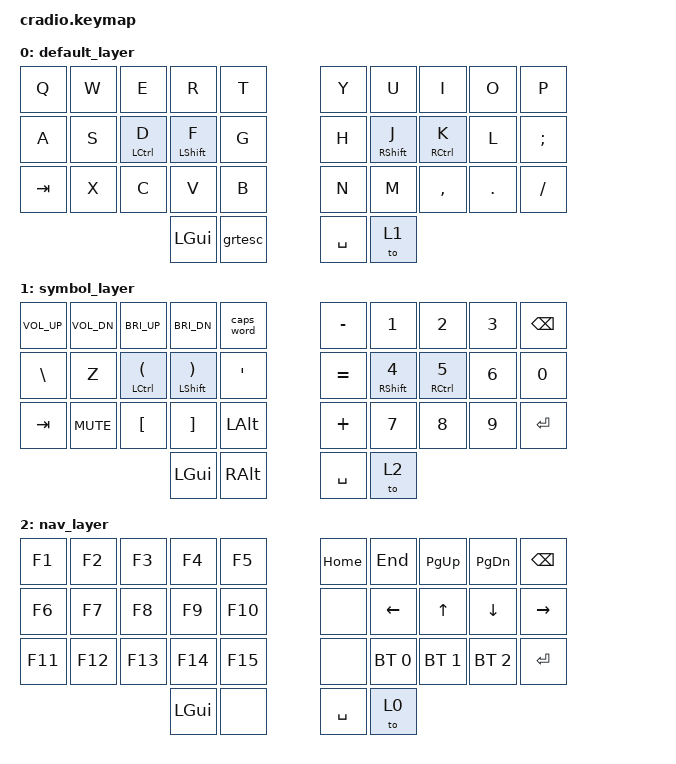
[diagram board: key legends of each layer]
// Copyright (c) 2022 The ZMK Contributors
// SPDX-License-Identifier: MIT

#include <behaviors.dtsi>
#include <dt-bindings/zmk/keys.h>
#include <dt-bindings/zmk/bt.h>

/ {
	behaviors {
		grtesc: grave_escape_with_tilde {
			compatible = "zmk,behavior-mod-morph";
			#binding-cells = <0>;
			bindings = <&kp ESC>, <&kp GRAVE>;
			mods = <MOD_LGUI>;
		};
		hrm: home_row_mods {
			compatible = "zmk,behavior-hold-tap";
			#binding-cells = <2>;
			flavor = "balanced";
			tapping-term-ms = <200>;
			quick-tap-ms = <200>;
			bindings = <&kp>, <&kp>;
		};
	};


	combos {
		compatible = "zmk,combos";

		combo_lh {
			timeout-ms = <200>;
			key-positions = <32 33>;
			bindings = <&to 0>;
		};

		combo_bt_clr {
			timeout-ms = <200>;
			key-positions = <26 27 28>;
			layers = <2>;
			bindings = <&bt BT_CLR>;
		};

		combo_bspc {
			timeout-ms = <200>;
			key-positions = <9 19>;
			layers = <0>;
			bindings = <&kp BSPC>;
		};

		combo_enter {
			timeout-ms = <200>;
			key-positions = <19 29>;
			layers = <0>;
			bindings = <&kp RET>;
		};

		combo_left {
			timeout-ms = <200>;
			key-positions = <0 10>;
			layers = <0>;
			bindings = <&kp LEFT>;
		};

		combo_right {
			timeout-ms = <200>;
			key-positions = <3 13>;
			layers = <0>;
			bindings = <&kp RIGHT>;
		};

		combo_up {
			timeout-ms = <200>;
			key-positions = <2 12>;
			layers = <0>;
			bindings = <&kp UP>;
		};

		combo_down {
			timeout-ms = <200>;
			key-positions = <1 11>;
			layers = <0>;
			bindings = <&kp DOWN>;
		};

		combo_minus {
			timeout-ms = <200>;
			key-positions = <5 15>;
			layers = <0>;
			bindings = <&kp MINUS>;
		};

		combo_equal {
			timeout-ms = <200>;
			key-positions = <15 25>;
			layers = <0>;
			bindings = <&kp EQUAL>;
		};

		combo_quote {
			timeout-ms = <200>;
			key-positions = <13 14>;
			layers = <0>;
			bindings = <&kp SQT>;
		};

		combo_lpar {
			timeout-ms = <200>;
			key-positions = <12 22>;
			layers = <0>;
			bindings = <&kp LPAR>;
		};

		combo_rpar {
			timeout-ms = <200>;
			key-positions = <13 23>;
			layers = <0>;
			bindings = <&kp RPAR>;
		};

		combo_lbkt {
			timeout-ms = <200>;
			key-positions = <11 21>;
			layers = <0>;
			bindings = <&kp LBKT>;
		};

		combo_rbkt {
			timeout-ms = <200>;
			key-positions = <14 24>;
			layers = <0>;
			bindings = <&kp RBKT>;
		};
	};

	keymap {
		compatible = "zmk,keymap";
		default_layer {
			bindings = <
				//╭──────────────┬──────────────┬──────────────┬──────────────┬──────────────╮   ╭──────────────┬──────────────┬──────────────┬──────────────┬──────────────╮
				   &kp Q          &kp W          &kp E          &kp R          &kp T              &kp Y          &kp U          &kp I          &kp O          &kp P          
				//├──────────────┼──────────────┼──────────────┼──────────────┼──────────────┤   ├──────────────┼──────────────┼──────────────┼──────────────┼──────────────┤
				   &kp A          &kp S          &hrm LCTRL D   &hrm LSHFT F   &kp G              &kp H          &hrm RSHFT J   &hrm RCTRL K   &kp L          &kp SEMI       
				//├──────────────┼──────────────┼──────────────┼──────────────┼──────────────┤   ├──────────────┼──────────────┼──────────────┼──────────────┼──────────────┤
				   &kp TAB        &kp X          &kp C          &kp V          &kp B              &kp N          &kp M          &kp COMMA      &kp DOT        &kp FSLH       
				//╰──────────────┴──────────────┴──────────────┼──────────────┼──────────────┤   ├──────────────┼──────────────┼──────────────┴──────────────┴──────────────╯
				                                                &kp LGUI       &grtesc            &kp SPACE      &to 1          
				//                                             ╰──────────────┴──────────────╯   ╰──────────────┴──────────────╯
			>;
		};

		symbol_layer {
			bindings = <
				//╭──────────────┬──────────────┬──────────────┬──────────────┬──────────────╮   ╭──────────────┬──────────────┬──────────────┬──────────────┬──────────────╮
				   &kp C_VOL_UP   &kp C_VOL_DN   &kp C_BRI_UP   &kp C_BRI_DN   &caps_word         &kp MINUS      &kp N1         &kp N2         &kp N3         &kp BSPC       
				//├──────────────┼──────────────┼──────────────┼──────────────┼──────────────┤   ├──────────────┼──────────────┼──────────────┼──────────────┼──────────────┤
				   &kp BSLH       &kp Z          &hrm LCTRL LPAR &hrm LSHFT RPAR &kp SQT           &kp EQUAL      &hrm RSHFT N4  &hrm RCTRL N5  &kp N6         &kp N0         
				//├──────────────┼──────────────┼──────────────┼──────────────┼──────────────┤   ├──────────────┼──────────────┼──────────────┼──────────────┼──────────────┤
				   &kp TAB        &kp C_MUTE     &kp LBKT       &kp RBKT       &kp LALT           &kp PLUS       &kp N7         &kp N8         &kp N9         &kp RET        
				//╰──────────────┴──────────────┴──────────────┼──────────────┼──────────────┤   ├──────────────┼──────────────┼──────────────┴──────────────┴──────────────╯
				                                                &kp LGUI       &kp RALT           &kp SPACE      &to 2          
				//                                             ╰──────────────┴──────────────╯   ╰──────────────┴──────────────╯
			>;
		};

		nav_layer {
			bindings = <
				//╭──────────────┬──────────────┬──────────────┬──────────────┬──────────────╮   ╭──────────────┬──────────────┬──────────────┬──────────────┬──────────────╮
				   &kp F1         &kp F2         &kp F3         &kp F4         &kp F5             &kp HOME       &kp END        &kp PG_UP      &kp PG_DN      &kp BSPC       
				//├──────────────┼──────────────┼──────────────┼──────────────┼──────────────┤   ├──────────────┼──────────────┼──────────────┼──────────────┼──────────────┤
				   &kp F6         &kp F7         &kp F8         &kp F9         &kp F10            &none          &kp LEFT       &kp UP         &kp DOWN       &kp RIGHT      
				//├──────────────┼──────────────┼──────────────┼──────────────┼──────────────┤   ├──────────────┼──────────────┼──────────────┼──────────────┼──────────────┤
				   &kp F11        &kp F12        &kp F13        &kp F14        &kp F15            &none          &bt BT_SEL 0   &bt BT_SEL 1   &bt BT_SEL 2   &kp RET        
				//╰──────────────┴──────────────┴──────────────┼──────────────┼──────────────┤   ├──────────────┼──────────────┼──────────────┴──────────────┴──────────────╯
				                                                &kp LGUI       &none              &kp SPACE      &to 0          
				//                                             ╰──────────────┴──────────────╯   ╰──────────────┴──────────────╯
			>;
		};
	};
};
